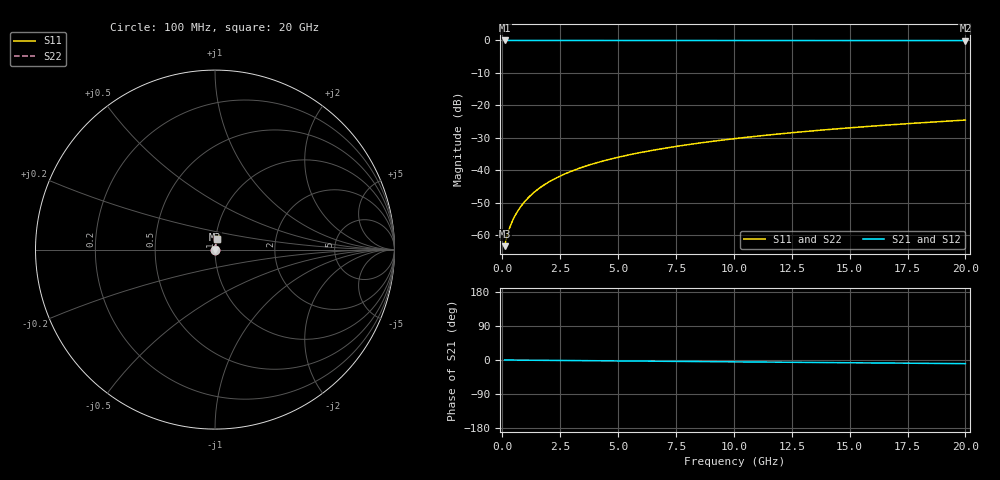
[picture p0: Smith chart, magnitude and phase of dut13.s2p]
! Touchstone file exported from HFSS 2026.1.0
!  File:  C:/ffzhzh/LocalFiles/Ansys_Project_Files/temp_val_TMRDL_13_1782902876_8056.aedt
!  Generated:  06:49:09 PM Jul  1, 2026
!  Design:  TMRDL
!  Project:  temp_val_TMRDL_13_1782902876_8056
! Variables:
!  h_bsmrdl = 2um
!  h_ox = 20um
!  h_rdl = 5um
!  h_sub = 80um
!  h_tmrdl = 4.61um
!  h_tsv = 80um
!  h_via = 3um
!  l_bsmrdl = 300um
!  l_sub = 532.46um
!  l_tmrdl = 132.46um
!  m_sub = 200um
!  pitch = 43.77um
!  r_tsv = 6um
!  s_tmrdl = 10um
!  w_bsmrdl = 18um
!  w_sub = 500um
!  w_tmrdl = 29.84um
!  x_tsv_center1 = 147.38um
!  x_tsv_center2 = 465.38um
!  x_tsv_center3 = 627.68um
!  x_tsv_center4 = 945.68um
!  x_tsv_center5 = 1107.98um
!  x_tsv_center6 = 1425.98um
# GHz S MA R 50.000000
! Terminal data exported
! Port[1] = TM_RDL1_1_T1
! Port[2] = TM_RDL1_1_T2
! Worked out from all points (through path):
!   200 points, 100 MHz to 20 GHz, reference 50 ohm
!   highest |S21| = 0.00 dB at 100 MHz (marker M1); lowest = 0.0 dB at 20 GHz (marker M2)
!   group delay of S21, straight-line fit = 1.33 ps
!   lowest |S11| = -63.4 dB at 100 MHz (marker M3), VSWR 1.00, Z = 50.1 + j0.04 ohm
!   |S11| at or under -10 dB: start of sweep to end of sweep
!   |S22| runs from -63.4 to -24.5 dB; largest |S21 - S12| = 4.4e-15
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0.1  0.0006779 36.2  0.9995 -0.1  0.9995 -0.1  0.0006779 36.2
! Gamma 0 0 0 0
! Port Impedance 50 0 50 0
0.2  0.0009646 51.2  0.9994 -0.1  0.9994 -0.1  0.0009646 51.2
0.3  0.001256 59.0  0.9994 -0.2  0.9994 -0.2  0.001256 59.0
0.4  0.001548 64.1  0.9993 -0.2  0.9993 -0.2  0.001548 64.1
0.5  0.001845 67.8  0.9993 -0.3  0.9993 -0.3  0.001845 67.8
0.6  0.002148 70.5  0.9993 -0.3  0.9993 -0.3  0.002148 70.5
0.8  0.002766 74.3  0.9993 -0.4  0.9993 -0.4  0.002766 74.3
1.1  0.003711 77.6  0.9992 -0.5  0.9992 -0.5  0.003711 77.6
1.3  0.004347 78.9  0.9992 -0.6  0.9992 -0.6  0.004347 78.9
1.6  0.005303 80.2  0.9992 -0.8  0.9992 -0.8  0.005303 80.2
2.1  0.006893 81.4  0.9991 -1.0  0.9991 -1.0  0.006893 81.4
2.7  0.008788 82.0  0.9989 -1.3  0.9989 -1.3  0.008788 82.0
3.5  0.01128 82.3  0.9988 -1.7  0.9988 -1.7  0.01128 82.3
4.2  0.01343 82.3  0.9986 -2.1  0.9986 -2.1  0.01343 82.3
5  0.01586 82.2  0.9984 -2.5  0.9984 -2.5  0.01586 82.2
5.9  0.01856 82.0  0.9982 -2.9  0.9982 -2.9  0.01856 82.0
6.8  0.02124 81.8  0.998 -3.3  0.998 -3.3  0.02124 81.8
8.3  0.02566 81.4  0.9976 -4.0  0.9976 -4.0  0.02566 81.4
10.1  0.03092 80.9  0.9973 -4.9  0.9973 -4.9  0.03092 80.9
13.4  0.04049 79.8  0.9965 -6.5  0.9965 -6.5  0.04049 79.8
16.7  0.04996 78.5  0.9958 -8.1  0.9958 -8.1  0.04996 78.6
20  0.05935 77.2  0.995 -9.6  0.995 -9.6  0.05935 77.2
